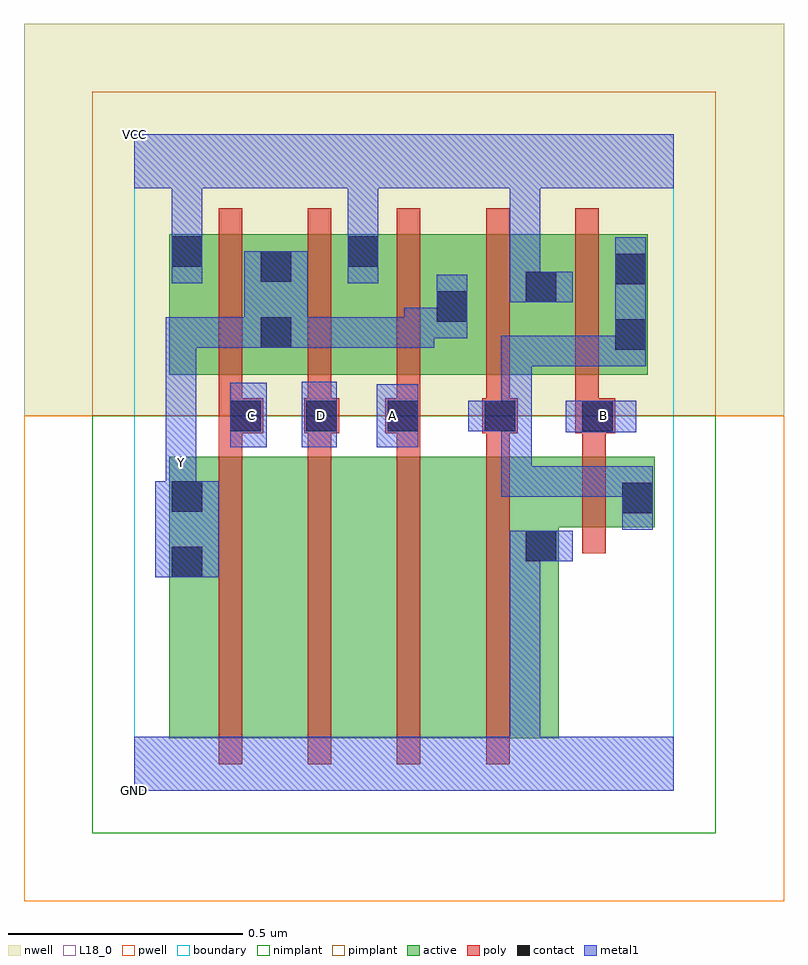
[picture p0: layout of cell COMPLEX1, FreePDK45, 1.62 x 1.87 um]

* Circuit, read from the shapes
.subckt COMPLEX1 A B C D GND VCC Y
M1 n1 C Y VSUBS nfet w=0.6u l=0.05u
M2 n2 D n1 VSUBS nfet w=0.6u l=0.05u
M3 n3 A n2 VSUBS nfet w=0.6u l=0.05u
M4 GND n4 n3 VSUBS nfet w=0.6u l=0.05u
M5 n4 B GND VSUBS nfet w=0.15u l=0.05u
M6 Y C VCC n5 pfet w=0.3u l=0.05u
M7 VCC D Y n5 pfet w=0.3u l=0.05u
M8 Y A VCC n5 pfet w=0.3u l=0.05u
M9 VCC n4 Y n5 pfet w=0.3u l=0.05u
M10 n4 B VCC n5 pfet w=0.3u l=0.05u
.ends

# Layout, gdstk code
import gdstk
lib = gdstk.Library(unit=1e-6, precision=1e-09)
def R(c, l, rs):  # rectangles x0, y0, x1, y1
    for r in rs: c.add(gdstk.rectangle(r[:2], r[2:], *l))
def A(c, l, x, y, w, h, nx, ny, dx, dy):  # array of equal rectangles
    R(c, l, [(x+i*dx, y+j*dy, x+i*dx+w, y+j*dy+h) for i in range(nx) for j in range(ny)])
active = (1, 0)
pwell = (2, 0)
nwell = (3, 0)
nimplant = (4, 0)
pimplant = (5, 0)
poly = (9, 0)
contact = (10, 0)
metal1 = (11, 0)
L18_0 = (18, 0)
boundary = (235, 0)

complex1 = lib.new_cell('COMPLEX1')
A(complex1, active, 0.45, 0.887, 0.265, 0.3, 3, 1, 0.19, 0)
R(complex1, active, [(0.075,0.112,0.3,0.712), (0.3,0.112,0.49,0.712), (0.49,0.112,0.68,0.712), (0.68,0.112,0.905,0.712), (0.83,0.112,0.905,0.697), (0.075,0.145,0.18,0.712), (0.83,0.562,1.11,0.712), (1.035,0.562,1.11,0.712), (0.075,0.887,0.34,1.187), (0.075,0.887,0.15,1.187), (0.265,0.887,0.525,1.187), (0.64,0.887,0.715,1.167), (1.02,0.887,1.095,1.155), (0.265,0.907,0.34,1.167), (0.45,1.002,0.525,1.187), (0.83,1.007,0.905,1.187)])
R(complex1, pwell, [(-0.235,-0.235,1.385,0.8)])
R(complex1, nwell, [(-0.235,0.8,1.385,1.635)])
R(complex1, nimplant, [(-0.09,-0.09,1.24,0.8)])
R(complex1, pimplant, [(-0.09,0.8,1.24,1.49)])
A(complex1, poly, 0.18, 0.057, 0.05, 0.71, 4, 1, 0.19, 0)
A(complex1, poly, 0.18, 0.717, 0.05, 0.095, 4, 1, 0.19, 0)
A(complex1, poly, 0.18, 0.787, 0.05, 0.095, 5, 1, 0.19, 0)
A(complex1, poly, 0.18, 0.832, 0.05, 0.41, 5, 1, 0.19, 0)
R(complex1, poly, [(0.955,0.507,1.005,0.767), (0.955,0.717,1.005,0.812), (0.18,0.762,0.275,0.837), (0.362,0.762,0.437,0.837), (0.535,0.762,0.61,0.837), (0.742,0.762,0.817,0.837), (0.94,0.762,1.025,0.837)])
R(complex1, contact, [(0.08,0.455,0.145,0.52), (0.835,0.49,0.9,0.555), (1.04,0.592,1.105,0.657), (0.08,0.595,0.145,0.66), (0.205,0.767,0.27,0.832), (0.367,0.767,0.432,0.832), (0.54,0.767,0.605,0.832), (0.747,0.767,0.812,0.832), (0.955,0.767,1.02,0.832), (1.025,0.94,1.09,1.005), (0.27,0.945,0.335,1.01), (0.645,1,0.71,1.065), (0.835,1.042,0.9,1.107), (1.025,1.08,1.09,1.145), (0.27,1.085,0.335,1.15), (0.08,1.117,0.145,1.182), (0.455,1.117,0.52,1.182)])
R(complex1, metal1, [(0,0,1.15,0.115), (0.8,0.05,0.865,0.115), (0.8,0.05,0.865,0.115), (0.8,0.05,0.865,0.555), (0.045,0.455,0.18,0.66), (0.8,0.49,0.935,0.555), (1.04,0.557,1.105,0.692), (0.067,0.595,0.132,0.66), (0.067,0.595,0.132,0.767), (0.782,0.627,0.847,0.692), (0.782,0.627,1.105,0.692), (0.782,0.627,0.847,0.832), (1.04,0.627,1.105,0.692), (1.04,0.627,1.105,0.692), (0.067,0.702,0.132,1.01), (0.205,0.732,0.282,0.87), (0.357,0.732,0.432,0.872), (0.517,0.732,0.605,0.867), (0.92,0.765,1.07,0.832), (0.712,0.767,0.847,0.832), (0.782,0.767,0.847,0.832), (0.782,0.767,0.847,0.832), (0.782,0.767,0.847,0.97), (0.782,0.905,0.847,0.97), (0.782,0.905,1.09,0.97), (1.025,0.905,1.09,0.97), (1.025,0.905,1.09,0.97), (1.025,0.905,1.09,1.18), (0.067,0.945,0.132,1.01), (0.067,0.945,0.132,1.01), (0.067,0.945,0.132,1.01), (0.067,0.945,0.3,1.01), (0.235,0.945,0.37,1.15), (0.305,0.945,0.37,1.01), (0.305,0.945,0.37,1.01), (0.305,0.945,0.572,1.01), (0.507,0.945,0.572,1.01), (0.507,0.945,0.64,1.01), (0.575,0.945,0.64,1.03), (0.575,0.965,0.71,1.03), (0.645,0.965,0.71,1.1), (0.8,1.042,0.865,1.107), (0.8,1.042,0.865,1.107), (0.8,1.042,0.865,1.35), (0.8,1.042,0.935,1.107), (0.08,1.082,0.145,1.217), (0.455,1.082,0.52,1.217), (0.08,1.152,0.145,1.35), (0.455,1.152,0.52,1.35), (0,1.285,1.15,1.4), (0.08,1.285,0.145,1.35), (0.08,1.285,0.145,1.35), (0.455,1.285,0.52,1.35), (0.455,1.285,0.52,1.35)])
A(complex1, L18_0, 0.217, 0.767, 0.065, 0.065, 3, 1, 0.15, 0)
R(complex1, L18_0, [(0,0,1.15,0.115), (0.8,0.05,0.865,0.115), (0.8,0.05,0.865,0.115), (0.8,0.05,0.865,0.555), (0.045,0.455,0.18,0.66), (0.8,0.49,0.935,0.555), (0.067,0.595,0.132,0.767), (0.067,0.595,0.132,0.66), (0.067,0.667,0.132,0.732), (0.067,0.702,0.132,1.01), (0.205,0.732,0.282,0.87), (0.357,0.732,0.432,0.872), (0.517,0.732,0.605,0.867), (0.92,0.765,1.07,0.832), (0.967,0.767,1.032,0.832), (0.067,0.945,0.132,1.01), (0.067,0.945,0.132,1.01), (0.067,0.945,0.132,1.01), (0.067,0.945,0.3,1.01), (0.235,0.945,0.37,1.15), (0.305,0.945,0.37,1.01), (0.305,0.945,0.37,1.01), (0.305,0.945,0.572,1.01), (0.507,0.945,0.572,1.01), (0.507,0.945,0.64,1.01), (0.575,0.945,0.64,1.03), (0.575,0.965,0.71,1.03), (0.645,0.965,0.71,1.1), (0.8,1.042,0.865,1.107), (0.8,1.042,0.865,1.107), (0.8,1.042,0.865,1.35), (0.8,1.042,0.935,1.107), (0.08,1.082,0.145,1.217), (0.455,1.082,0.52,1.217), (0.08,1.152,0.145,1.35), (0.455,1.152,0.52,1.35), (0,1.285,1.15,1.4), (0.08,1.285,0.145,1.35), (0.08,1.285,0.145,1.35), (0.455,1.285,0.52,1.35), (0.455,1.285,0.52,1.35)])
R(complex1, boundary, [(0,0,1.15,1.4)])
complex1.add(gdstk.Label('A', (0.55,0.8), layer=11, texttype=0))
complex1.add(gdstk.Label('B', (1,0.8), layer=11, texttype=0))
complex1.add(gdstk.Label('C', (0.25,0.8), layer=11, texttype=0))
complex1.add(gdstk.Label('D', (0.4,0.8), layer=11, texttype=0))
complex1.add(gdstk.Label('Y', (0.1,0.7), layer=11, texttype=0))
complex1.add(gdstk.Label('VCC', (0,1.4), layer=11, texttype=0))
complex1.add(gdstk.Label('GND', (0,0), layer=11, texttype=0))

lib.write_gds('COMPLEX1.gds')
